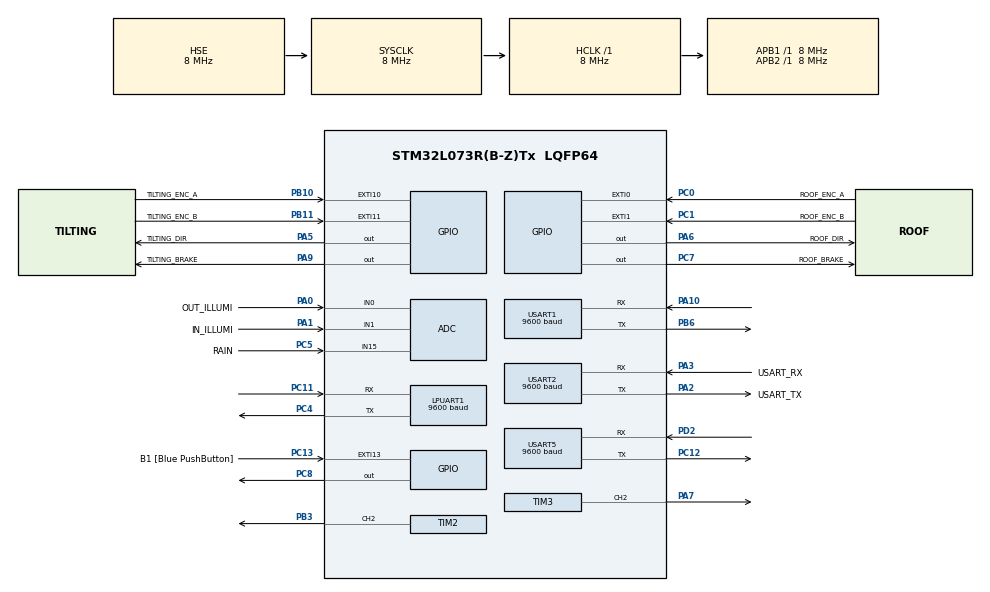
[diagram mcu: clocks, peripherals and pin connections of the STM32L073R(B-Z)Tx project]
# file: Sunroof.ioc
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Dma.Request0=USART5_RX
Dma.Request1=USART1_RX
Dma.USART1_RX.1.Direction=DMA_PERIPH_TO_MEMORY
Dma.USART1_RX.1.Instance=DMA1_Channel3
Dma.USART1_RX.1.MemDataAlignment=DMA_MDATAALIGN_BYTE
Dma.USART1_RX.1.MemInc=DMA_MINC_ENABLE
Dma.USART1_RX.1.Mode=DMA_NORMAL
Dma.USART1_RX.1.PeriphDataAlignment=DMA_PDATAALIGN_BYTE
Dma.USART1_RX.1.PeriphInc=DMA_PINC_DISABLE
Dma.USART1_RX.1.Priority=DMA_PRIORITY_LOW
Dma.USART5_RX.0.Direction=DMA_PERIPH_TO_MEMORY
Dma.USART5_RX.0.Instance=DMA1_Channel6
Dma.USART5_RX.0.MemDataAlignment=DMA_MDATAALIGN_BYTE
Dma.USART5_RX.0.MemInc=DMA_MINC_ENABLE
Dma.USART5_RX.0.Mode=DMA_NORMAL
Dma.USART5_RX.0.PeriphDataAlignment=DMA_PDATAALIGN_BYTE
Dma.USART5_RX.0.PeriphInc=DMA_PINC_DISABLE
Dma.USART5_RX.0.Priority=DMA_PRIORITY_LOW
LPUART1.BaudRate=9600
LPUART1.WordLength=UART_WORDLENGTH_8B
Mcu.Family=STM32L0
Mcu.Name=STM32L073R(B-Z)Tx
Mcu.Package=LQFP64
NVIC.DMA1_Channel2_3_IRQn=true\:0\:0\:false\:false\:true\:false\:true\:true
NVIC.DMA1_Channel4_5_6_7_IRQn=true\:0\:0\:false\:false\:true\:false\:true\:true
NVIC.EXTI0_1_IRQn=true\:0\:0\:false\:true\:true\:1\:true\:true\:true
NVIC.EXTI4_15_IRQn=true\:0\:0\:false\:false\:true\:true\:true\:true
NVIC.USART1_IRQn=true\:0\:0\:false\:false\:true\:true\:true\:true
NVIC.USART4_5_IRQn=true\:0\:0\:false\:false\:true\:true\:true\:true
PA0.GPIO_Label=OUT_ILLUMI
PA0.Mode=IN0
PA0.Signal=ADC_IN0
PA1.GPIO_Label=IN_ILLUMI
PA1.Mode=IN1
PA1.Signal=ADC_IN1
PA10.GPIO_PuPd=GPIO_PULLUP
PA10.Mode=Asynchronous
PA10.Signal=USART1_RX
PA13.GPIO_Label=TMS
PA13.Mode=Serial_Wire
PA13.Signal=SYS_SWDIO
PA14.GPIO_Label=TCK
PA14.Mode=Serial_Wire
PA14.Signal=SYS_SWCLK
PA2.GPIO_Label=USART_TX
PA2.GPIO_PuPd=GPIO_PULLUP
PA2.Mode=Asynchronous
PA2.Signal=USART2_TX
PA3.GPIO_Label=USART_RX
PA3.GPIO_PuPd=GPIO_PULLUP
PA3.Mode=Asynchronous
PA3.Signal=USART2_RX
PA5.GPIO_Label=TILTING_DIR
PA5.Signal=GPIO_Output
PA6.GPIO_Label=ROOF_DIR
PA6.Signal=GPIO_Output
PA7.Signal=S_TIM3_CH2
PA9.GPIO_Label=TILTING_BRAKE
PA9.Signal=GPIO_Output
PB10.GPIO_Label=TILTING_ENC_A
PB10.Signal=GPXTI10
PB11.GPIO_Label=TILTING_ENC_B
PB11.Signal=GPXTI11
PB3.Signal=S_TIM2_CH2
PB6.GPIO_PuPd=GPIO_PULLUP
PB6.Mode=Asynchronous
PB6.Signal=USART1_TX
PC0.GPIO_Label=ROOF_ENC_A
PC0.GPIO_ModeDefaultEXTI=GPIO_MODE_IT_RISING_FALLING
PC0.Signal=GPXTI0
PC1.GPIO_Label=ROOF_ENC_B
PC1.GPIO_ModeDefaultEXTI=GPIO_MODE_IT_RISING_FALLING
PC1.Signal=GPXTI1
PC11.Mode=Asynchronous
PC11.Signal=LPUART1_RX
PC12.GPIO_PuPd=GPIO_PULLUP
PC12.Mode=Asynchronous
PC12.Signal=USART5_TX
PC13.GPIO_Label=B1 [Blue PushButton]
PC13.GPIO_ModeDefaultEXTI=GPIO_MODE_IT_FALLING
PC13.Signal=GPXTI13
PC14-OSC32_IN.Mode=LSE-External-Oscillator
PC14-OSC32_IN.Signal=RCC_OSC32_IN
PC15-OSC32_OUT.Mode=LSE-External-Oscillator
PC15-OSC32_OUT.Signal=RCC_OSC32_OUT
PC4.Mode=Asynchronous
PC4.Signal=LPUART1_TX
PC5.GPIO_Label=RAIN
PC5.Mode=IN15
PC5.Signal=ADC_IN15
PC7.GPIO_Label=ROOF_BRAKE
PC7.Signal=GPIO_Output
PC8.Signal=GPIO_Output
PD2.GPIO_PuPd=GPIO_PULLUP
PD2.Mode=Asynchronous
PD2.Signal=USART5_RX
PH0-OSC_IN.GPIO_Label=MCO
PH0-OSC_IN.Mode=HSE-External-Clock-Source
PH0-OSC_IN.Signal=RCC_OSC_IN
ProjectManager.HeapSize=0x200
ProjectManager.StackSize=0x400
ProjectManager.TargetToolchain=STM32CubeIDE
RCC.AHBFreq_Value=8000000
RCC.APB1Freq_Value=8000000
RCC.APB1TimFreq_Value=8000000
RCC.APB2Freq_Value=8000000
RCC.APB2TimFreq_Value=8000000
RCC.HCLKFreq_Value=8000000
RCC.HSE_VALUE=8000000
RCC.HSI16_VALUE=16000000
RCC.HSI48_VALUE=48000000
RCC.HSI_VALUE=16000000
RCC.MSI_VALUE=2097000
RCC.SYSCLKFreq_VALUE=8000000
RCC.SYSCLKSource=RCC_SYSCLKSOURCE_HSE
RCC.VCOOutputFreq_Value=48000000
SH.S_TIM2_CH2.0=TIM2_CH2,PWM Generation2 CH2
SH.S_TIM3_CH2.0=TIM3_CH2,PWM Generation2 CH2
TIM2.Channel-PWM\ Generation2\ CH2=TIM_CHANNEL_2
TIM2.OCMode_PWM-PWM\ Generation2\ CH2=TIM_OCMODE_PWM1
TIM2.Period=99
TIM2.Prescaler=79
TIM2.Pulse-PWM\ Generation2\ CH2=0
TIM3.Channel-PWM\ Generation2\ CH2=TIM_CHANNEL_2
TIM3.Period=99
TIM3.Prescaler=79
USART1.BaudRate=9600
USART1.VirtualMode-Asynchronous=VM_ASYNC
USART2.BaudRate=9600
USART2.VirtualMode-Asynchronous=VM_ASYNC
USART5.BaudRate=9600
USART5.VirtualMode-Asynchronous=VM_ASYNC
VP_TIM2_VS_ClockSourceINT.Mode=Internal
VP_TIM3_VS_ClockSourceINT.Mode=Internal
board=NUCLEO-L073RZ

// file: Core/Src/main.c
/* USER CODE BEGIN Header */
/**
  ******************************************************************************
  * @file           : main.c
  * @brief          : Main program body
  ******************************************************************************
  * @attention
  *
  * Copyright (c) 2025 STMicroelectronics.
  * All rights reserved.
  *
  * This software is licensed under terms that can be found in the LICENSE file
  * in the root directory of this software component.
  * If no LICENSE file comes with this software, it is provided AS-IS.
  *
  ******************************************************************************
  */
/* USER CODE END Header */
#include "main.h"
#include "adc.h"
#include "dma.h"
#include "usart.h"
#include "tim.h"
#include "gpio.h"

/* USER CODE BEGIN Includes */
#include <string.h>
#include <stdio.h>
#include "sensor.h"
#include "roof.h"
/* USER CODE END Includes */

/* USER CODE BEGIN PD */
#define CLOSE 0
#define TILTING 1
#define OPEN 2
#define STOP 3

#define IN_ILLUM_SHIFT     20
#define OUT_ILLUM_SHIFT    8
#define RAIN_STATE_SHIFT   7
#define ROOF_STATE_SHIFT   5
#define FILM_OPACITY_SHIFT 0

#define IN_ILLUM_MASK      0x0FFF
#define OUT_ILLUM_MASK     0x0FFF
#define RAIN_STATE_MASK    0x01
#define ROOF_STATE_MASK    0x03
#define FILM_OPACITY_MASK  0x1F

/* USER CODE END PD */

/* USER CODE BEGIN PV */

// Sensor Data & UART Send Data
volatile int32_t roof_encoder = 0;
volatile int32_t tilting_encoder = 0;
volatile uint16_t in_illum = 0;
volatile uint16_t out_illum = 0;
volatile uint16_t rain_sense;
volatile uint8_t rain_state = 0;

// UART Receive Data
volatile uint8_t film_opacity = 0; 	// X 5 해서 사용
volatile uint8_t roof_state = STOP;

// UART Variables
uint8_t SPD_tx_payload;

uint8_t CGW_tx_buf[4];
uint32_t CGW_tx_payload;

uint8_t CGW_rx_buf[2];
uint16_t CGW_rx_payload;
uint8_t CGW_rx_ready = 0;

uint8_t receive_data = 0;

// Sensor Read Flag
uint8_t sensor_read = 0;

static uint8_t prev_roof_state = 0xFF;  // 처음에는 일치하지 않도록 임의의 값

/* USER CODE END PV */

void SystemClock_Config(void);
static void MX_NVIC_Init(void);
/* USER CODE BEGIN PFP */
void Send_Data_CGW(void);
void Send_Data_SPD(void);
/* USER CODE END PFP */

/* USER CODE BEGIN 0 */

int __io_putchar(int ch) {
    HAL_UART_Transmit(&huart2, (uint8_t*)&ch, 1, HAL_MAX_DELAY);
    return ch;
}

// UART RX
void HAL_UART_RxCpltCallback(UART_HandleTypeDef *huart)
{
    if (huart->Instance == USART1) {
    	CGW_rx_ready = 1;
    	HAL_UART_Receive_DMA(&huart1, CGW_rx_buf, sizeof(CGW_rx_buf));
    }
}
/* USER CODE END 0 */

int main(void)
{

  /* MCU Configuration--------------------------------------------------------*/

  /* Reset of all peripherals, Initializes the Flash interface and the Systick. */
  HAL_Init();

  /* Configure the system clock */
  SystemClock_Config();

  /* Initialize all configured peripherals */
  MX_GPIO_Init();
  MX_DMA_Init();
  MX_ADC_Init();
  MX_TIM2_Init();
  MX_USART2_UART_Init();
  MX_TIM3_Init();
  MX_USART5_UART_Init();
  MX_USART1_UART_Init();
  MX_LPUART1_UART_Init();

  /* Initialize interrupts */
  MX_NVIC_Init();
  /* USER CODE BEGIN 2 */
  HAL_TIM_PWM_Start(&htim2, TIM_CHANNEL_2);
  HAL_TIM_PWM_Start(&htim3, TIM_CHANNEL_2);

  HAL_UART_Receive_DMA(&huart1, CGW_rx_buf, sizeof(CGW_rx_buf));

  // Initialize
  roof_encoder = -1;
  tilting_encoder = -1;
  roof_state = STOP;
  film_opacity = 0;
  CGW_rx_ready = 0;
  sensor_read = 0;

  printf("#BOOT\r\n");

  // DFPlayer Mini 초기화
  DFPlayerMini_InitPlayer(&hlpuart1);

//  roof_state = 1;

  /* USER CODE END 2 */

  /* Infinite loop */
  /* USER CODE BEGIN WHILE */
  while (1)
  {
	  // 센서 값 수신 및 UART 송신
	  if(sensor_read)
	  {
		  sensor_read = 0;

		  read_illum();
		  read_rain();
		  Send_Data_CGW();

		  printf("#SEND\r\n in : %d, out : %d, rain : %d, roof : %d, opacity : %d\r\n", \
				  (int)in_illum, (int)out_illum, (int)rain_state, (int)roof_state, (int)film_opacity);
	  }

	  if(CGW_rx_ready)
	  {
		  CGW_rx_ready = 0;

		  CGW_rx_payload = 0;
		  CGW_rx_payload |= ((uint16_t)CGW_rx_buf[0] << 8);
		  CGW_rx_payload |= ((uint16_t)CGW_rx_buf[1]);

		  if(CGW_rx_payload == 0xFFFF) {
			  sensor_read = 1;

			  printf("#REQUEST\r\n");
		  }
		  else {
			  roof_state = ((CGW_rx_payload >> 8) & 0x03);
			  film_opacity = ((CGW_rx_payload) & 0x1F);
			  Send_Data_SPD();

			  printf("#RECEIVE\r\n roof : %d, opacity : %d\r\n", (int)roof_state, (int)film_opacity);
		  }
	  }

	  if (roof_state != prev_roof_state) {
	      prev_roof_state = roof_state;  // 상태 변경 기록

	      switch (roof_state) {
	      	  case OPEN:
	      		  // 선루프 자동 열림 mp3 재생
	      		  DFPlayerMini_PlayFile(1);
	              break;
	          case TILTING:
				  // 선루프 자동 틸팅 mp3 재생
				  DFPlayerMini_PlayFile(2);
	        	  break;
	          case CLOSE:
	        	  // 선루프 자동 닫힘 mp3 재생
				  DFPlayerMini_PlayFile(3);
	              break;
			  case STOP:
	          default:
	              break;
	      }
	  }

	  Sunroof_Set(roof_state);

    /* USER CODE END WHILE */

  }
}

void SystemClock_Config(void)
{
  RCC_OscInitTypeDef RCC_OscInitStruct = {0};
  RCC_ClkInitTypeDef RCC_ClkInitStruct = {0};
  RCC_PeriphCLKInitTypeDef PeriphClkInit = {0};

  /** Configure the main internal regulator output voltage
  */
  __HAL_PWR_VOLTAGESCALING_CONFIG(PWR_REGULATOR_VOLTAGE_SCALE1);

  /** Initializes the RCC Oscillators according to the specified parameters
  * in the RCC_OscInitTypeDef structure.
  */
  RCC_OscInitStruct.OscillatorType = RCC_OSCILLATORTYPE_HSE;
  RCC_OscInitStruct.HSEState = RCC_HSE_BYPASS;
  RCC_OscInitStruct.PLL.PLLState = RCC_PLL_NONE;
  if (HAL_RCC_OscConfig(&RCC_OscInitStruct) != HAL_OK)
  {
    Error_Handler();
  }

  /** Initializes the CPU, AHB and APB buses clocks
  */
  RCC_ClkInitStruct.ClockType = RCC_CLOCKTYPE_HCLK|RCC_CLOCKTYPE_SYSCLK
                              |RCC_CLOCKTYPE_PCLK1|RCC_CLOCKTYPE_PCLK2;
  RCC_ClkInitStruct.SYSCLKSource = RCC_SYSCLKSOURCE_HSE;
  RCC_ClkInitStruct.AHBCLKDivider = RCC_SYSCLK_DIV1;
  RCC_ClkInitStruct.APB1CLKDivider = RCC_HCLK_DIV1;
  RCC_ClkInitStruct.APB2CLKDivider = RCC_HCLK_DIV1;

  if (HAL_RCC_ClockConfig(&RCC_ClkInitStruct, FLASH_LATENCY_0) != HAL_OK)
  {
    Error_Handler();
  }
  PeriphClkInit.PeriphClockSelection = RCC_PERIPHCLK_USART1|RCC_PERIPHCLK_USART2
                              |RCC_PERIPHCLK_LPUART1;
  PeriphClkInit.Usart1ClockSelection = RCC_USART1CLKSOURCE_PCLK2;
  PeriphClkInit.Usart2ClockSelection = RCC_USART2CLKSOURCE_PCLK1;
  PeriphClkInit.Lpuart1ClockSelection = RCC_LPUART1CLKSOURCE_PCLK1;
  if (HAL_RCCEx_PeriphCLKConfig(&PeriphClkInit) != HAL_OK)
  {
    Error_Handler();
  }
}

/**
  * @brief NVIC Configuration.
  * @retval None
  */
static void MX_NVIC_Init(void)
{
  /* EXTI0_1_IRQn interrupt configuration */
  HAL_NVIC_SetPriority(EXTI0_1_IRQn, 0, 0);
  HAL_NVIC_EnableIRQ(EXTI0_1_IRQn);
}

/* USER CODE BEGIN 4 */
void Send_Data_CGW(void) {
	//UART Send
	CGW_tx_payload = 0;
	CGW_tx_payload |= ((uint32_t)(in_illum & IN_ILLUM_MASK)) << IN_ILLUM_SHIFT;
	CGW_tx_payload |= ((uint32_t)(out_illum & OUT_ILLUM_MASK)) << OUT_ILLUM_SHIFT;
	CGW_tx_payload |= ((uint32_t)(rain_state & RAIN_STATE_MASK)) << RAIN_STATE_SHIFT;
	CGW_tx_payload |= ((uint32_t)(roof_state & ROOF_STATE_MASK)) << ROOF_STATE_SHIFT;
	CGW_tx_payload |= ((uint32_t)(film_opacity & FILM_OPACITY_MASK)) << FILM_OPACITY_SHIFT;

	CGW_tx_buf[0] = (CGW_tx_payload >> 24) & 0xFF;
	CGW_tx_buf[1] = (CGW_tx_payload >> 16) & 0xFF;
	CGW_tx_buf[2] = (CGW_tx_payload >> 8) & 0xFF;
	CGW_tx_buf[3] = CGW_tx_payload & 0xFF;

	HAL_UART_Transmit(&huart1, CGW_tx_buf, sizeof(CGW_tx_buf), 100);
}

void Send_Data_SPD(void) {
	SPD_tx_payload = (uint8_t)(film_opacity * 5);

	HAL_UART_Transmit(&huart5, &SPD_tx_payload, 1, 100);
}
/* USER CODE END 4 */

void Error_Handler(void)
{
  __disable_irq();
  while (1)
  {
  }
}
